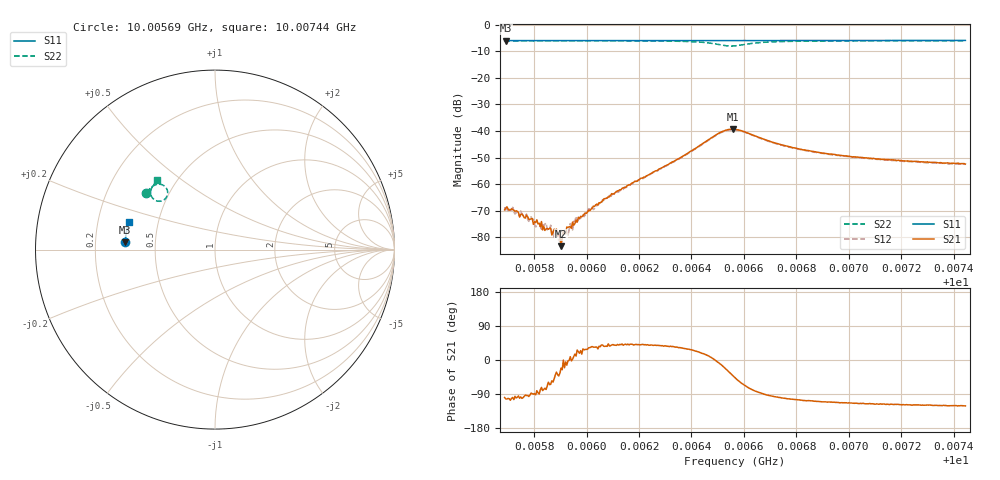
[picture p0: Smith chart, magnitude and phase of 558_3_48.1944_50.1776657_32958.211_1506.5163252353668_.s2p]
#  HZ  S  RI  R  50.00
! Rohde & Schwarz Vector Network Analyzer
! Rohde-Schwarz,ZNB20-2Port,1311601062101988,3.16
! Created: UTC 3/20/2024, 12:01:05 PM
! freq[Hz]  re:S11  im:S11  re:S21  im:S21  re:S12  im:S12  re:S22  im:S22
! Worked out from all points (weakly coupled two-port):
!   401 points, 10.00569 GHz to 10.00744 GHz, reference 50 ohm
!   highest |S21| = -39.30 dB at 10.00656 GHz (marker M1); lowest = -83.3 dB at 10.0059 GHz (marker M2)
!   lowest |S11| = -6.0 dB at 10.00569 GHz (marker M3), VSWR 3.01, Z = 16.6 + j1.83 ohm
!   |S11| at or under -10 dB: nowhere
!   |S22| runs from -8.0 to -6.0 dB; largest |S21 - S12| = 0.0007
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1.0005687e10  -0.5001 0.0409  -5.12e-05 -0.000325  -5.54e-05 -0.000364  -0.3828 0.3172
1.0005692e10  -0.5 0.0413  -7.63e-05 -0.000346  -7.06e-05 -0.000318  -0.3824 0.3175
1.0005727e10  -0.4999 0.0435  -3.17e-05 -0.000307  -4e-05 -0.000272  -0.381 0.3196
1.0005793e10  -0.4996 0.0479  4.04e-06 -0.000224  1.55e-05 -0.000219  -0.3777 0.3236
1.000581e10  -0.4996 0.049  3.33e-05 -0.00021  2.27e-05 -0.000161  -0.3768 0.3248
1.0005841e10  -0.4994 0.051  3.62e-05 -0.00013  5.85e-05 -0.000168  -0.3752 0.3266
1.0005885e10  -0.4991 0.0538  0.000121 -7.59e-05  0.000102 -0.000102  -0.3729 0.3295
1.0005903e10  -0.4991 0.0551  6.34e-05 -2.5e-05  0.000128 -5.92e-05  -0.372 0.3307
1.0005911e10  -0.499 0.0556  0.000126 -6.02e-07  0.000121 -5.06e-06  -0.3714 0.3311
1.000592e10  -0.499 0.0561  0.000116 -9.82e-06  0.000143 1.22e-05  -0.371 0.3317
1.0005938e10  -0.4988 0.0574  0.000155 2.32e-05  0.000177 3.99e-05  -0.3699 0.3328
1.000596e10  -0.4987 0.0587  0.000206 3.8e-05  0.000238 7.01e-05  -0.3687 0.3343
1.0005982e10  -0.4985 0.0602  0.000234 6.56e-05  0.000227 0.000129  -0.3673 0.3356
1.0006078e10  -0.498 0.0666  0.000444 0.000322  0.000399 0.000376  -0.3609 0.3423
1.0006276e10  -0.4965 0.0793  0.00151 0.00119  0.00143 0.00124  -0.3408 0.3575
1.0006504e10  -0.4936 0.0939  0.00904 -0.00121  0.00885 -0.000631  -0.2653 0.3294
1.0006557e10  -0.493 0.0966  0.00815 -0.00716  0.00838 -0.0065  -0.2838 0.2775
1.0006566e10  -0.493 0.097  0.00736 -0.00782  0.00765 -0.00725  -0.2926 0.2727
1.0006715e10  -0.492 0.1066  -0.000693 -0.00598  -0.000358 -0.00594  -0.3586 0.315
1.000686e10  -0.4904 0.1159  -0.00128 -0.00395  -0.0011 -0.00391  -0.3532 0.3426
1.0007155e10  -0.4864 0.1347  -0.00133 -0.00255  -0.00116 -0.00257  -0.3362 0.3686
1.0007445e10  -0.4816 0.1527  -0.00124 -0.00205  -0.00109 -0.00209  -0.3207 0.3854
